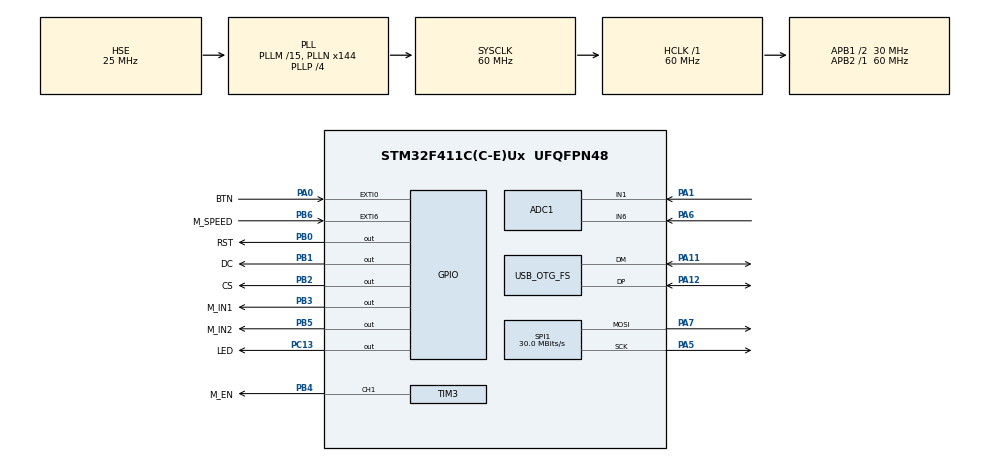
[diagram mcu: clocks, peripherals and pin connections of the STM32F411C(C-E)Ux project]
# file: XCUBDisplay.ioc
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ADC1.Channel-0\#ChannelRegularConversion=ADC_CHANNEL_1
ADC1.Channel-1\#ChannelRegularConversion=ADC_CHANNEL_6
ADC1.ContinuousConvMode=ENABLE
ADC1.DMAContinuousRequests=ENABLE
ADC1.NbrOfConversion=2
ADC1.NbrOfConversionFlag=1
ADC1.Rank-0\#ChannelRegularConversion=1
ADC1.Rank-1\#ChannelRegularConversion=2
ADC1.SamplingTime-0\#ChannelRegularConversion=ADC_SAMPLETIME_15CYCLES
ADC1.SamplingTime-1\#ChannelRegularConversion=ADC_SAMPLETIME_28CYCLES
ADC1.ScanConvMode=ENABLE
ADC1.master=1
Dma.ADC1.1.Direction=DMA_PERIPH_TO_MEMORY
Dma.ADC1.1.FIFOMode=DMA_FIFOMODE_ENABLE
Dma.ADC1.1.FIFOThreshold=DMA_FIFO_THRESHOLD_FULL
Dma.ADC1.1.Instance=DMA2_Stream0
Dma.ADC1.1.MemBurst=DMA_MBURST_SINGLE
Dma.ADC1.1.MemDataAlignment=DMA_MDATAALIGN_WORD
Dma.ADC1.1.MemInc=DMA_MINC_ENABLE
Dma.ADC1.1.Mode=DMA_NORMAL
Dma.ADC1.1.PeriphBurst=DMA_PBURST_SINGLE
Dma.ADC1.1.PeriphDataAlignment=DMA_PDATAALIGN_WORD
Dma.ADC1.1.PeriphInc=DMA_PINC_DISABLE
Dma.ADC1.1.Priority=DMA_PRIORITY_LOW
Dma.Request0=SPI1_TX
Dma.Request1=ADC1
Dma.SPI1_TX.0.Direction=DMA_MEMORY_TO_PERIPH
Dma.SPI1_TX.0.FIFOMode=DMA_FIFOMODE_ENABLE
Dma.SPI1_TX.0.FIFOThreshold=DMA_FIFO_THRESHOLD_FULL
Dma.SPI1_TX.0.Instance=DMA2_Stream2
Dma.SPI1_TX.0.MemBurst=DMA_MBURST_SINGLE
Dma.SPI1_TX.0.MemDataAlignment=DMA_MDATAALIGN_BYTE
Dma.SPI1_TX.0.MemInc=DMA_MINC_ENABLE
Dma.SPI1_TX.0.Mode=DMA_NORMAL
Dma.SPI1_TX.0.PeriphBurst=DMA_PBURST_SINGLE
Dma.SPI1_TX.0.PeriphDataAlignment=DMA_PDATAALIGN_BYTE
Dma.SPI1_TX.0.PeriphInc=DMA_PINC_DISABLE
Dma.SPI1_TX.0.Priority=DMA_PRIORITY_LOW
Mcu.Family=STM32F4
Mcu.Name=STM32F411C(C-E)Ux
Mcu.Package=UFQFPN48
NVIC.DMA2_Stream0_IRQn=true\:0\:0\:false\:false\:true\:false\:true\:true
NVIC.DMA2_Stream2_IRQn=true\:0\:0\:false\:false\:true\:false\:true\:true
NVIC.EXTI0_IRQn=true\:0\:0\:false\:false\:true\:true\:true\:true
NVIC.EXTI9_5_IRQn=true\:0\:0\:false\:false\:true\:true\:true\:true
NVIC.OTG_FS_IRQn=true\:0\:0\:false\:false\:true\:false\:true\:true
NVIC.PriorityGroup=NVIC_PRIORITYGROUP_4
NVIC.SPI1_IRQn=true\:0\:0\:false\:false\:true\:true\:true\:true
NVIC.TIM1_UP_TIM10_IRQn=true\:15\:0\:false\:false\:true\:false\:true\:true
NVIC.TIM2_IRQn=true\:0\:0\:false\:false\:true\:true\:true\:true
NVIC.TimeBase=TIM1_UP_TIM10_IRQn
NVIC.TimeBaseIP=TIM1
PA0-WKUP.GPIO_Label=BTN
PA0-WKUP.GPIO_ModeDefaultEXTI=GPIO_MODE_IT_RISING
PA0-WKUP.GPIO_PuPd=GPIO_PULLUP
PA0-WKUP.Signal=GPXTI0
PA1.Signal=ADCx_IN1
PA11.Mode=Device_Only
PA11.Signal=USB_OTG_FS_DM
PA12.Mode=Device_Only
PA12.Signal=USB_OTG_FS_DP
PA13.Mode=Serial_Wire
PA13.Signal=SYS_JTMS-SWDIO
PA14.Mode=Serial_Wire
PA14.Signal=SYS_JTCK-SWCLK
PA5.Mode=TX_Only_Simplex_Unidirect_Master
PA5.Signal=SPI1_SCK
PA6.Signal=ADCx_IN6
PA7.Mode=TX_Only_Simplex_Unidirect_Master
PA7.Signal=SPI1_MOSI
PB0.GPIO_Label=RST
PB0.GPIO_Speed=GPIO_SPEED_FREQ_HIGH
PB0.Signal=GPIO_Output
PB1.GPIO_Label=DC
PB1.GPIO_Speed=GPIO_SPEED_FREQ_HIGH
PB1.Signal=GPIO_Output
PB2.GPIO_Label=CS
PB2.GPIO_Speed=GPIO_SPEED_FREQ_HIGH
PB2.Signal=GPIO_Output
PB3.GPIO_Label=M_IN1
PB3.Signal=GPIO_Output
PB4.GPIO_Label=M_EN
PB4.Signal=S_TIM3_CH1
PB5.GPIO_Label=M_IN2
PB5.Signal=GPIO_Output
PB6.GPIO_Label=M_SPEED
PB6.Signal=GPXTI6
PC13-ANTI_TAMP.GPIO_Label=LED
PC13-ANTI_TAMP.Signal=GPIO_Output
PH0\ -\ OSC_IN.Mode=HSE-External-Oscillator
PH0\ -\ OSC_IN.Signal=RCC_OSC_IN
PH1\ -\ OSC_OUT.Mode=HSE-External-Oscillator
PH1\ -\ OSC_OUT.Signal=RCC_OSC_OUT
ProjectManager.HeapSize=0x800
ProjectManager.StackSize=0x800
ProjectManager.TargetToolchain=STM32CubeIDE
RCC.48MHZClocksFreq_Value=48000000
RCC.AHBFreq_Value=60000000
RCC.APB1CLKDivider=RCC_HCLK_DIV2
RCC.APB1Freq_Value=30000000
RCC.APB1TimFreq_Value=60000000
RCC.APB2Freq_Value=60000000
RCC.APB2TimFreq_Value=60000000
RCC.CortexFreq_Value=60000000
RCC.FLatency-AdvancedSettings=FLASH_LATENCY_1
RCC.HCLKFreq_Value=60000000
RCC.HSE_VALUE=25000000
RCC.HSI_VALUE=16000000
RCC.LSE_VALUE=32768
RCC.PLLM=15
RCC.PLLMUL=RCC_PLL_MUL9
RCC.PLLN=144
RCC.PLLP=RCC_PLLP_DIV4
RCC.PLLQ=5
RCC.RCC_PLLsource_Clock_Source_FROM_HSE=RCC_HSE_PREDIV_DIV2
RCC.SYSCLKFreq_VALUE=60000000
RCC.SYSCLKSource=RCC_SYSCLKSOURCE_PLLCLK
RCC.SYSCLKSourceVirtual=RCC_SYSCLKSOURCE_PLLCLK
RCC.VCOOutputFreq_Value=240000000
SH.ADCx_IN1.0=ADC1_IN1,IN1
SH.ADCx_IN6.0=ADC1_IN6,IN6
SH.S_TIM3_CH1.0=TIM3_CH1,PWM Generation1 CH1
SPI1.BaudRatePrescaler=SPI_BAUDRATEPRESCALER_2
SPI1.CLKPolarity=SPI_POLARITY_HIGH
SPI1.CalculateBaudRate=30.0 MBits/s
SPI1.Direction=SPI_DIRECTION_2LINES
SPI1.Mode=SPI_MODE_MASTER
SPI1.VirtualType=VM_MASTER
STMicroelectronics.X-CUBE-AI.8.0.1.ActivationBufferSizeList=1532
STMicroelectronics.X-CUBE-AI.8.0.1.ActivationBuffers=pool0
STMicroelectronics.X-CUBE-AI.8.0.1.ActivationNames=pool0
STMicroelectronics.X-CUBE-AI.8.0.1.ActivationSizes=AI_STATE_MODEL_DATA_ACTIVATION_1_SIZE
STMicroelectronics.X-CUBE-AI.8.0.1.HeapSize=0x800
STMicroelectronics.X-CUBE-AI.8.0.1.InternalRamActivationBufferMaxSize=AI_STATE_MODEL_DATA_ACTIVATIONS_SIZE
STMicroelectronics.X-CUBE-AI.8.0.1.LatestDirectoryUsed-5166ade3d4e7753f8beb3de7f6dad0315eb86bf2ef9b82c578395d558f316f27=C\:\\Users\\ICG\\Documents\\GitHub\\STM32_F4_Control-air-cualiti-using-AI
STMicroelectronics.X-CUBE-AI.8.0.1.MaximumNumberOfInputLayer=1
STMicroelectronics.X-CUBE-AI.8.0.1.MaximumNumberOfOutputLayer=1
STMicroelectronics.X-CUBE-AI.8.0.1.MaximumSizeOfInputLayer=1
STMicroelectronics.X-CUBE-AI.8.0.1.MaximumSizeOfOutputLayer=1
STMicroelectronics.X-CUBE-AI.8.0.1.ModelActualCompression-5166ade3d4e7753f8beb3de7f6dad0315eb86bf2ef9b82c578395d558f316f27=0.0
STMicroelectronics.X-CUBE-AI.8.0.1.ModelCompression-5166ade3d4e7753f8beb3de7f6dad0315eb86bf2ef9b82c578395d558f316f27=None
STMicroelectronics.X-CUBE-AI.8.0.1.ModelFlashOccupation-5166ade3d4e7753f8beb3de7f6dad0315eb86bf2ef9b82c578395d558f316f27=10478
STMicroelectronics.X-CUBE-AI.8.0.1.ModelHashList=5166ade3d4e7753f8beb3de7f6dad0315eb86bf2ef9b82c578395d558f316f27
STMicroelectronics.X-CUBE-AI.8.0.1.ModelKind-5166ade3d4e7753f8beb3de7f6dad0315eb86bf2ef9b82c578395d558f316f27=TFLITE
STMicroelectronics.X-CUBE-AI.8.0.1.ModelMacc-5166ade3d4e7753f8beb3de7f6dad0315eb86bf2ef9b82c578395d558f316f27=96
STMicroelectronics.X-CUBE-AI.8.0.1.ModelName-5166ade3d4e7753f8beb3de7f6dad0315eb86bf2ef9b82c578395d558f316f27=state_model
STMicroelectronics.X-CUBE-AI.8.0.1.ModelNameList=state_model
STMicroelectronics.X-CUBE-AI.8.0.1.ModelRamOccupation-5166ade3d4e7753f8beb3de7f6dad0315eb86bf2ef9b82c578395d558f316f27=1532
STMicroelectronics.X-CUBE-AI.8.0.1.ModelStructureFile-5166ade3d4e7753f8beb3de7f6dad0315eb86bf2ef9b82c578395d558f316f27=C\:\\Users\\ICG\\Documents\\GitHub\\STM32_F4_Control-air-cualiti-using-AI\\state_model.tflite
STMicroelectronics.X-CUBE-AI.8.0.1.ModelType-5166ade3d4e7753f8beb3de7f6dad0315eb86bf2ef9b82c578395d558f316f27=STM32Cube.AI runtime
STMicroelectronics.X-CUBE-AI.8.0.1.ReadyForCodeGeneration=true
STMicroelectronics.X-CUBE-AI.8.0.1.StackSize=0x800
STMicroelectronics.X-CUBE-AI.8.0.1.WorkingBufferStartAddrList=0xFFFFFFFF
STMicroelectronics.X-CUBE-AI.8.0.1.XAaCUBEAaAICcArtificialOoIntelligenceJjCore=true
STMicroelectronics.X-CUBE-AI.8.0.1.copyWeightToRam=false
STMicroelectronics.X-CUBE-AI.8.0.1.customLayerConfigEnabled=false
STMicroelectronics.X-CUBE-AI.8.0.1.useInputAllocation=true
STMicroelectronics.X-CUBE-AI.8.0.1.useOutputAllocation=true
STMicroelectronics.X-CUBE-TOUCHGFX.4.21.4.tgfx_buffering_strategy=Partial
STMicroelectronics.X-CUBE-TOUCHGFX.4.21.4.tgfx_custom_height=320
STMicroelectronics.X-CUBE-TOUCHGFX.4.21.4.tgfx_custom_width=240
STMicroelectronics.X-CUBE-TOUCHGFX.4.21.4_IsPackSelfContextualization=true
TIM2.Period=1000000-1
TIM2.Prescaler=60-1
TIM3.AutoReloadPreload=TIM_AUTORELOAD_PRELOAD_ENABLE
TIM3.Channel-PWM\ Generation1\ CH1=TIM_CHANNEL_1
TIM3.Period=100-1
TIM3.Prescaler=60000-1
USB_DEVICE.CLASS_NAME_FS=CDC
USB_DEVICE.PRODUCT_STRING_CDC_FS=ICG_DEVICE
USB_DEVICE.VirtualMode=Cdc
USB_DEVICE.VirtualModeFS=Cdc_FS
USB_OTG_FS.VirtualMode=Device_Only
VP_CRC_VS_CRC.Mode=CRC_Activate
VP_STMicroelectronics.X-CUBE-AI_VS_ArtificialOoIntelligenceJjXAaCUBEAaAI_8.0.1.Mode=ArtificialOoIntelligenceJjXAaCUBEAaAI
VP_SYS_VS_tim1.Mode=TIM1
VP_TIM2_VS_ClockSourceINT.Mode=Internal
VP_TIM3_VS_ClockSourceINT.Mode=Internal
VP_USB_DEVICE_VS_USB_DEVICE_CDC_FS.Mode=CDC_FS
board=custom

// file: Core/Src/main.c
/* USER CODE BEGIN Header */
/**
 ******************************************************************************
 * @file           : main.c
 * @brief          : Main program body
 ******************************************************************************
 * @attention
 *
 * Copyright (c) 2023 STMicroelectronics.
 * All rights reserved.
 *
 * This software is licensed under terms that can be found in the LICENSE file
 * in the root directory of this software component.
 * If no LICENSE file comes with this software, it is provided AS-IS.
 *
 ******************************************************************************
 */
/* USER CODE END Header */
#include "main.h"
#include "usb_device.h"

/* USER CODE BEGIN Includes */
#include <stdio.h>
#include <stdlib.h>

#include "usbd_cdc_if.h"
#include "string.h"

#include "../../Drivers/ST7789/st7789.h"
#include "fonts.h"
#include "bitmap.h"
#include <math.h>

#include "state_model.h"
#include "state_model_data.h"
#include "ai_datatypes_defines.h"
#include "ai_platform.h"
/* USER CODE END Includes */

/* USER CODE BEGIN PD */
#define OFFSET 1000

#define Vsupply  3.3f //power supply voltage (3.3 V rail) -STM32 ADC pin is NOT 5 V tolerant
#define MAXBITPER4V 3276 // for convert in % 3276 is 100% i use voltage divide 1 and 2 kohm
#define R_10k  9840 //10k resistor measured resistance in Ohms (other element in the voltage divider)
#define B_param  3700 //B-coefficient of the thermistor
#define T0  298.15f //25°C in Kelvin

#define TIMCLOCK   60000000
#define PRESCALAR  60

#define TARTGET_TEMP 23.00f

#define GAS_SENS_REDY ST7789_BLUE // wait 2 min for hating
#define GAS_SENS_HEATING ST7789_RED

/* USER CODE END PD */

ADC_HandleTypeDef hadc1;
DMA_HandleTypeDef hdma_adc1;

CRC_HandleTypeDef hcrc;

SPI_HandleTypeDef hspi1;
DMA_HandleTypeDef hdma_spi1_tx;

TIM_HandleTypeDef htim2;
TIM_HandleTypeDef htim3;

/* USER CODE BEGIN PV */
uint32_t T, initTime;

float Vout; //Voltage divider output
float R_NTC; //NTC thermistor resistance in Ohms
float Temp_K; //Temperature measured by the thermistor (Kelvin)
float Temp_C; //Temperature measured by the thermistor (Celsius)

uint32_t speed, count;

uint8_t flag, setSpeedVal;

// timer value
uint32_t f_timer;

extern uint8_t buffer[64];

/* USER CODE END PV */

void SystemClock_Config(void);
static void MX_GPIO_Init(void);
static void MX_DMA_Init(void);
static void MX_CRC_Init(void);
static void MX_SPI1_Init(void);
static void MX_TIM2_Init(void);
static void MX_ADC1_Init(void);
static void MX_TIM3_Init(void);
/* USER CODE BEGIN PFP */

float ConvertToTemperature(uint16_t raw) {
	Vout = (raw) * (Vsupply / 4095); //4095 �' 12 bit resolution of the blue pill

	R_NTC = (Vout * R_10k) / (Vsupply - Vout); //calculating the resistance of the thermistor

	Temp_K = (T0 * B_param) / (T0 * log(R_NTC / R_10k) + B_param); //Temperature in Kelvin
	Temp_C = Temp_K - 273.15; //converting into Celsius
	return Temp_C;
}

void setSpeed(uint8_t speed) {
	//				Start Motor
	TIM3->CCR1 = speed; // enable pin
	HAL_GPIO_WritePin(M_IN1_GPIO_Port, M_IN1_Pin, GPIO_PIN_SET);
	HAL_GPIO_WritePin(M_IN2_GPIO_Port, M_IN2_Pin, GPIO_PIN_RESET);
}

void printToDisplay(float celsius, uint8_t ch4, uint32_t speed, bool heat) {

	char str[20];
	static uint8_t flag = 0;

	if (flag == 0) {
		ST7789_print(20, 10, ST7789_WHITE, ST7789_BLACK, 0, &Font_11x18, 1,
				"Temperature Cels & CH4 %");
		flag = 1;
	}

	ST7789_DrawCircleFilled(75, 120, 70, ST7789_BLUE);

	if (heat == true) {
		ST7789_DrawCircleFilled(245, 120, 70, GAS_SENS_REDY);
	} else {
		ST7789_DrawCircleFilled(245, 120, 70, GAS_SENS_HEATING);
	}

	ST7789_DrawFillRoundRect(100, 200, 120, 30, 2, RGB565(0, 204, 204));

	sprintf(str, "%.2f", celsius);
	ST7789_print(35, 110, ST7789_WHITE, ST7789_BLACK, 0, &Font_16x26, 1, str);

	sprintf(str, "%i", ch4);
	ST7789_print(225, 110, ST7789_WHITE, ST7789_BLACK, 0, &Font_16x26, 1, str);

	sprintf(str, "%li   %i%%", speed, setSpeedVal);
	ST7789_print(110, 210, ST7789_WHITE, ST7789_BLACK, 0, &Font_11x18, 1, str);

}

uint32_t getTimer3Frequency() {
	// Obținerea valorii PSC (Prescaler) și ARR (Auto-Reload Register) din structura htim3
	uint32_t psc = htim3.Instance->PSC;
	uint32_t arr = htim3.Instance->ARR;

	// Calculul frecvenței
	uint32_t f_timer3 = HAL_RCC_GetPCLK1Freq() / (psc + 1) / (arr + 1);

	return f_timer3;
}

/* USER CODE END PFP */

int main(void) {
	/* USER CODE BEGIN 1 */
	uint32_t raw[2];
	float cels;
	uint8_t ch4;
	char msg[40];
	/* USER CODE END 1 */

	/* MCU Configuration--------------------------------------------------------*/

	/* Reset of all peripherals, Initializes the Flash interface and the Systick. */
	HAL_Init();

	/* USER CODE BEGIN Init */
	count = 0;
	flag = 0;
	setSpeedVal = 0; //%
	/* USER CODE END Init */

	/* Configure the system clock */
	SystemClock_Config();

	/* USER CODE BEGIN SysInit */
	T = HAL_GetTick();
	initTime = HAL_GetTick();
	/* USER CODE END SysInit */

	/* Initialize all configured peripherals */
	MX_GPIO_Init();
	MX_DMA_Init();
	MX_CRC_Init();
	MX_SPI1_Init();
	MX_USB_DEVICE_Init();
	MX_TIM2_Init();
	MX_ADC1_Init();
	MX_TIM3_Init();
	/* USER CODE BEGIN 2 */
//  set Timer
	HAL_TIM_Base_Start_IT(&htim2);
//	Set PWM on Timer
	HAL_TIM_PWM_Start(&htim3, TIM_CHANNEL_1);

	ST7789_Init();
	ST7789_rotation(2);
// 	get timer value
	f_timer = getTimer3Frequency();
	/* USER CODE END 2 */

	/* Infinite loop */
	/* USER CODE BEGIN WHILE */
	while (1) {

		HAL_ADC_Start_DMA(&hadc1, raw, 2); // start adc in DMA mode
		if (HAL_GetTick() > T + OFFSET) {

			cels = ConvertToTemperature((uint16_t) raw[0]);
			ch4 = (uint8_t) ((float) (raw[1] * 100 / MAXBITPER4V));

			sprintf(msg, "%.2f - %i - (%li) %li rpm/sec\r\n ", cels, ch4,
					f_timer, speed);

			CDC_Transmit_FS((uint8_t*) msg, strlen((char*) msg));

			if (HAL_GetTick() - initTime > 1000 * 2 * 60)
				printToDisplay(cels, ch4, speed, true);
			else
				printToDisplay(cels, ch4, speed, false);

			if (cels > TARTGET_TEMP) {
				setSpeed(setSpeedVal); //from 0 to 100
			} else {
				setSpeed(0);
			}
			T = HAL_GetTick();
		}

		HAL_Delay(100);
		/* USER CODE END WHILE */

	}
}

void SystemClock_Config(void) {
	RCC_OscInitTypeDef RCC_OscInitStruct = { 0 };
	RCC_ClkInitTypeDef RCC_ClkInitStruct = { 0 };

	/** Configure the main internal regulator output voltage
	 */
	__HAL_RCC_PWR_CLK_ENABLE();
	__HAL_PWR_VOLTAGESCALING_CONFIG(PWR_REGULATOR_VOLTAGE_SCALE1);

	/** Initializes the RCC Oscillators according to the specified parameters
	 * in the RCC_OscInitTypeDef structure.
	 */
	RCC_OscInitStruct.OscillatorType = RCC_OSCILLATORTYPE_HSE;
	RCC_OscInitStruct.HSEState = RCC_HSE_ON;
	RCC_OscInitStruct.PLL.PLLState = RCC_PLL_ON;
	RCC_OscInitStruct.PLL.PLLSource = RCC_PLLSOURCE_HSE;
	RCC_OscInitStruct.PLL.PLLM = 15;
	RCC_OscInitStruct.PLL.PLLN = 144;
	RCC_OscInitStruct.PLL.PLLP = RCC_PLLP_DIV4;
	RCC_OscInitStruct.PLL.PLLQ = 5;
	if (HAL_RCC_OscConfig(&RCC_OscInitStruct) != HAL_OK) {
		Error_Handler();
	}

	/** Initializes the CPU, AHB and APB buses clocks
	 */
	RCC_ClkInitStruct.ClockType = RCC_CLOCKTYPE_HCLK | RCC_CLOCKTYPE_SYSCLK
			| RCC_CLOCKTYPE_PCLK1 | RCC_CLOCKTYPE_PCLK2;
	RCC_ClkInitStruct.SYSCLKSource = RCC_SYSCLKSOURCE_PLLCLK;
	RCC_ClkInitStruct.AHBCLKDivider = RCC_SYSCLK_DIV1;
	RCC_ClkInitStruct.APB1CLKDivider = RCC_HCLK_DIV2;
	RCC_ClkInitStruct.APB2CLKDivider = RCC_HCLK_DIV1;

	if (HAL_RCC_ClockConfig(&RCC_ClkInitStruct, FLASH_LATENCY_1) != HAL_OK) {
		Error_Handler();
	}
}

static void MX_ADC1_Init(void) {

	ADC_ChannelConfTypeDef sConfig = { 0 };

	/** Configure the global features of the ADC (Clock, Resolution, Data Alignment and number of conversion)
	 */
	hadc1.Instance = ADC1;
	hadc1.Init.ClockPrescaler = ADC_CLOCK_SYNC_PCLK_DIV2;
	hadc1.Init.Resolution = ADC_RESOLUTION_12B;
	hadc1.Init.ScanConvMode = ENABLE;
	hadc1.Init.ContinuousConvMode = ENABLE;
	hadc1.Init.DiscontinuousConvMode = DISABLE;
	hadc1.Init.ExternalTrigConvEdge = ADC_EXTERNALTRIGCONVEDGE_NONE;
	hadc1.Init.ExternalTrigConv = ADC_SOFTWARE_START;
	hadc1.Init.DataAlign = ADC_DATAALIGN_RIGHT;
	hadc1.Init.NbrOfConversion = 2;
	hadc1.Init.DMAContinuousRequests = ENABLE;
	hadc1.Init.EOCSelection = ADC_EOC_SINGLE_CONV;
	if (HAL_ADC_Init(&hadc1) != HAL_OK) {
		Error_Handler();
	}

	/** Configure for the selected ADC regular channel its corresponding rank in the sequencer and its sample time.
	 */
	sConfig.Channel = ADC_CHANNEL_1;
	sConfig.Rank = 1;
	sConfig.SamplingTime = ADC_SAMPLETIME_15CYCLES;
	if (HAL_ADC_ConfigChannel(&hadc1, &sConfig) != HAL_OK) {
		Error_Handler();
	}

	/** Configure for the selected ADC regular channel its corresponding rank in the sequencer and its sample time.
	 */
	sConfig.Channel = ADC_CHANNEL_6;
	sConfig.Rank = 2;
	sConfig.SamplingTime = ADC_SAMPLETIME_28CYCLES;
	if (HAL_ADC_ConfigChannel(&hadc1, &sConfig) != HAL_OK) {
		Error_Handler();
	}

}

static void MX_CRC_Init(void) {

	hcrc.Instance = CRC;
	if (HAL_CRC_Init(&hcrc) != HAL_OK) {
		Error_Handler();
	}

}

static void MX_SPI1_Init(void) {

	/* SPI1 parameter configuration*/
	hspi1.Instance = SPI1;
	hspi1.Init.Mode = SPI_MODE_MASTER;
	hspi1.Init.Direction = SPI_DIRECTION_2LINES;
	hspi1.Init.DataSize = SPI_DATASIZE_8BIT;
	hspi1.Init.CLKPolarity = SPI_POLARITY_HIGH;
	hspi1.Init.CLKPhase = SPI_PHASE_1EDGE;
	hspi1.Init.NSS = SPI_NSS_SOFT;
	hspi1.Init.BaudRatePrescaler = SPI_BAUDRATEPRESCALER_2;
	hspi1.Init.FirstBit = SPI_FIRSTBIT_MSB;
	hspi1.Init.TIMode = SPI_TIMODE_DISABLE;
	hspi1.Init.CRCCalculation = SPI_CRCCALCULATION_DISABLE;
	hspi1.Init.CRCPolynomial = 10;
	if (HAL_SPI_Init(&hspi1) != HAL_OK) {
		Error_Handler();
	}

}

static void MX_TIM2_Init(void) {

	TIM_ClockConfigTypeDef sClockSourceConfig = { 0 };
	TIM_MasterConfigTypeDef sMasterConfig = { 0 };

	htim2.Instance = TIM2;
	htim2.Init.Prescaler = 60 - 1;
	htim2.Init.CounterMode = TIM_COUNTERMODE_UP;
	htim2.Init.Period = 1000000 - 1;
	htim2.Init.ClockDivision = TIM_CLOCKDIVISION_DIV1;
	htim2.Init.AutoReloadPreload = TIM_AUTORELOAD_PRELOAD_DISABLE;
	if (HAL_TIM_Base_Init(&htim2) != HAL_OK) {
		Error_Handler();
	}
	sClockSourceConfig.ClockSource = TIM_CLOCKSOURCE_INTERNAL;
	if (HAL_TIM_ConfigClockSource(&htim2, &sClockSourceConfig) != HAL_OK) {
		Error_Handler();
	}
	sMasterConfig.MasterOutputTrigger = TIM_TRGO_RESET;
	sMasterConfig.MasterSlaveMode = TIM_MASTERSLAVEMODE_DISABLE;
	if (HAL_TIMEx_MasterConfigSynchronization(&htim2, &sMasterConfig)
			!= HAL_OK) {
		Error_Handler();
	}

}

static void MX_TIM3_Init(void) {

	TIM_ClockConfigTypeDef sClockSourceConfig = { 0 };
	TIM_MasterConfigTypeDef sMasterConfig = { 0 };
	TIM_OC_InitTypeDef sConfigOC = { 0 };

	htim3.Instance = TIM3;
	htim3.Init.Prescaler = 60000 - 1;
	htim3.Init.CounterMode = TIM_COUNTERMODE_UP;
	htim3.Init.Period = 100 - 1;
	htim3.Init.ClockDivision = TIM_CLOCKDIVISION_DIV1;
	htim3.Init.AutoReloadPreload = TIM_AUTORELOAD_PRELOAD_ENABLE;
	if (HAL_TIM_Base_Init(&htim3) != HAL_OK) {
		Error_Handler();
	}
	sClockSourceConfig.ClockSource = TIM_CLOCKSOURCE_INTERNAL;
	if (HAL_TIM_ConfigClockSource(&htim3, &sClockSourceConfig) != HAL_OK) {
		Error_Handler();
	}
	if (HAL_TIM_PWM_Init(&htim3) != HAL_OK) {
		Error_Handler();
	}
	sMasterConfig.MasterOutputTrigger = TIM_TRGO_RESET;
	sMasterConfig.MasterSlaveMode = TIM_MASTERSLAVEMODE_DISABLE;
	if (HAL_TIMEx_MasterConfigSynchronization(&htim3, &sMasterConfig)
			!= HAL_OK) {
		Error_Handler();
	}
	sConfigOC.OCMode = TIM_OCMODE_PWM1;
	sConfigOC.Pulse = 0;
	sConfigOC.OCPolarity = TIM_OCPOLARITY_HIGH;
	sConfigOC.OCFastMode = TIM_OCFAST_DISABLE;
	if (HAL_TIM_PWM_ConfigChannel(&htim3, &sConfigOC, TIM_CHANNEL_1)
			!= HAL_OK) {
		Error_Handler();
	}
	HAL_TIM_MspPostInit(&htim3);

}

static void MX_DMA_Init(void) {

	/* DMA controller clock enable */
	__HAL_RCC_DMA2_CLK_ENABLE();

	/* DMA interrupt init */
	/* DMA2_Stream0_IRQn interrupt configuration */
	HAL_NVIC_SetPriority(DMA2_Stream0_IRQn, 0, 0);
	HAL_NVIC_EnableIRQ(DMA2_Stream0_IRQn);
	/* DMA2_Stream2_IRQn interrupt configuration */
	HAL_NVIC_SetPriority(DMA2_Stream2_IRQn, 0, 0);
	HAL_NVIC_EnableIRQ(DMA2_Stream2_IRQn);

}

static void MX_GPIO_Init(void) {
	GPIO_InitTypeDef GPIO_InitStruct = { 0 };

	/* GPIO Ports Clock Enable */
	__HAL_RCC_GPIOC_CLK_ENABLE();
	__HAL_RCC_GPIOH_CLK_ENABLE();
	__HAL_RCC_GPIOA_CLK_ENABLE();
	__HAL_RCC_GPIOB_CLK_ENABLE();

	/*Configure GPIO pin Output Level */
	HAL_GPIO_WritePin(LED_GPIO_Port, LED_Pin, GPIO_PIN_RESET);

	/*Configure GPIO pin Output Level */
	HAL_GPIO_WritePin(GPIOB, RST_Pin | DC_Pin | CS_Pin | M_IN1_Pin | M_IN2_Pin,
			GPIO_PIN_RESET);

	/*Configure GPIO pin : LED_Pin */
	GPIO_InitStruct.Pin = LED_Pin;
	GPIO_InitStruct.Mode = GPIO_MODE_OUTPUT_PP;
	GPIO_InitStruct.Pull = GPIO_NOPULL;
	GPIO_InitStruct.Speed = GPIO_SPEED_FREQ_LOW;
	HAL_GPIO_Init(LED_GPIO_Port, &GPIO_InitStruct);

	/*Configure GPIO pin : BTN_Pin */
	GPIO_InitStruct.Pin = BTN_Pin;
	GPIO_InitStruct.Mode = GPIO_MODE_IT_RISING;
	GPIO_InitStruct.Pull = GPIO_PULLUP;
	HAL_GPIO_Init(BTN_GPIO_Port, &GPIO_InitStruct);

	/*Configure GPIO pins : RST_Pin DC_Pin CS_Pin */
	GPIO_InitStruct.Pin = RST_Pin | DC_Pin | CS_Pin;
	GPIO_InitStruct.Mode = GPIO_MODE_OUTPUT_PP;
	GPIO_InitStruct.Pull = GPIO_NOPULL;
	GPIO_InitStruct.Speed = GPIO_SPEED_FREQ_HIGH;
	HAL_GPIO_Init(GPIOB, &GPIO_InitStruct);

	/*Configure GPIO pins : M_IN1_Pin M_IN2_Pin */
	GPIO_InitStruct.Pin = M_IN1_Pin | M_IN2_Pin;
	GPIO_InitStruct.Mode = GPIO_MODE_OUTPUT_PP;
	GPIO_InitStruct.Pull = GPIO_NOPULL;
	GPIO_InitStruct.Speed = GPIO_SPEED_FREQ_LOW;
	HAL_GPIO_Init(GPIOB, &GPIO_InitStruct);

	/*Configure GPIO pin : M_SPEED_Pin */
	GPIO_InitStruct.Pin = M_SPEED_Pin;
	GPIO_InitStruct.Mode = GPIO_MODE_IT_RISING;
	GPIO_InitStruct.Pull = GPIO_NOPULL;
	HAL_GPIO_Init(M_SPEED_GPIO_Port, &GPIO_InitStruct);

	/* EXTI interrupt init*/
	HAL_NVIC_SetPriority(EXTI0_IRQn, 0, 0);
	HAL_NVIC_EnableIRQ(EXTI0_IRQn);

	HAL_NVIC_SetPriority(EXTI9_5_IRQn, 0, 0);
	HAL_NVIC_EnableIRQ(EXTI9_5_IRQn);

}

/* USER CODE BEGIN 4 */
void HAL_GPIO_EXTI_Callback(uint16_t GPIO_Pin) {
//	GPIO_InitTypeDef GPIO_InitStruct = { 0 };
	/* EXTI line interrupt detected */
	if (GPIO_Pin == BTN_Pin) // If The INT Source Is EXTI Line9 (A9 Pin)
	{

		if (setSpeedVal >= 100) {
			setSpeedVal = 0;
		}
		setSpeedVal += 10;

	}
	if (GPIO_Pin == M_SPEED_Pin) // If The INT Source Is EXTI Line9 (A9 Pin)
	{
		count++;
//		HAL_GPIO_TogglePin(LED_GPIO_Port, LED_Pin);
	}
}
/* USER CODE END 4 */

void HAL_TIM_PeriodElapsedCallback(TIM_HandleTypeDef *htim) {
	if (htim->Instance == TIM1) {
		HAL_IncTick();
	}
	/* USER CODE BEGIN Callback 1 */
	if (htim->Instance == TIM2) {
		if (count != 0) {
			speed = (uint32_t) (count / 2) - f_timer * 2; // number of pulse minus pwm pulse
			count = 0; //
		} else {
			speed = 0;
		}

	}
	/* USER CODE END Callback 1 */
}

void Error_Handler(void) {
	__disable_irq();
	while (1) {
	}
}
